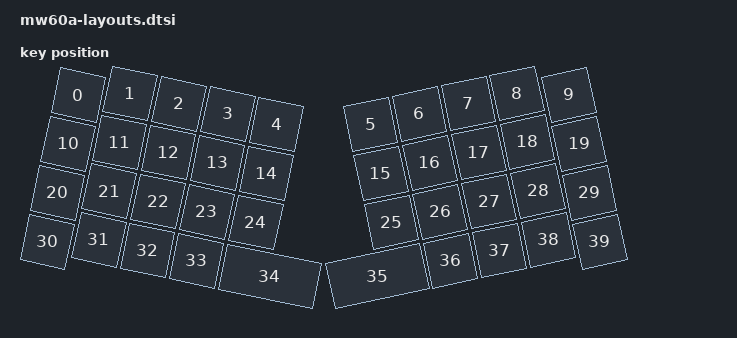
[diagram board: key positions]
// 이 .dtsi 파일은 MW60A 키보드 펌웨어의 일부임

// 여기에 사용하지 않는 피지컬 키를 포함하더라도 에러는 발생하지 않는다.
// ZMK studio 등에서 열었을 때, unknown으로 표시될 뿐이다.


#include <physical_layouts.dtsi>

/ {
    default_layout: default_layout {
        compatible = "zmk,physical-layout";
        display-name = "Default Layout";
        transform = <&default_transform>;
        kscan = <&kscan>;

        // Edit this to define the positions and sizes of the keys, or remove it
        // if your keyboard will not support ZMK Studio.
        // https://zmk.dev/docs/development/hardware-integration/physical-layouts#optional-keys-property
        keys  //                     w   h    x    y     rot    rx    ry
            = <&key_physical_attrs 100 100    0   25    1200   600   550>
            , <&key_physical_attrs 100 100  100    0    1200   600   550>
            , <&key_physical_attrs 100 100  200    0    1200   600   550>
            , <&key_physical_attrs 100 100  300    0    1200   600   550>
            , <&key_physical_attrs 100 100  400    0    1200   600   550>
            , <&key_physical_attrs 100 100  800   21 (-1200)   600   550>
            , <&key_physical_attrs 100 100  900   21 (-1200)   600   550>
            , <&key_physical_attrs 100 100 1000   21 (-1200)   600   550>
            , <&key_physical_attrs 100 100 1100   21 (-1200)   600   550>
            , <&key_physical_attrs 100 100 1200   46 (-1200)   600   550>
            , <&key_physical_attrs 100 100    0  125    1200   600   550>
            , <&key_physical_attrs 100 100  100  100    1200   600   550>
            , <&key_physical_attrs 100 100  200  100    1200   600   550>
            , <&key_physical_attrs 100 100  300  100    1200   600   550>
            , <&key_physical_attrs 100 100  400  100    1200   600   550>
            , <&key_physical_attrs 100 100  800  121 (-1200)   600   550>
            , <&key_physical_attrs 100 100  900  121 (-1200)   600   550>
            , <&key_physical_attrs 100 100 1000  121 (-1200)   600   550>
            , <&key_physical_attrs 100 100 1100  121 (-1200)   600   550>
            , <&key_physical_attrs 100 100 1200  146 (-1200)   600   550>
            , <&key_physical_attrs 100 100    0  225    1200   600   550>
            , <&key_physical_attrs 100 100  100  200    1200   600   550>
            , <&key_physical_attrs 100 100  200  200    1200   600   550>
            , <&key_physical_attrs 100 100  300  200    1200   600   550>
            , <&key_physical_attrs 100 100  400  200    1200   600   550>
            , <&key_physical_attrs 100 100  800  221 (-1200)   600   550>
            , <&key_physical_attrs 100 100  900  221 (-1200)   600   550>
            , <&key_physical_attrs 100 100 1000  221 (-1200)   600   550>
            , <&key_physical_attrs 100 100 1100  221 (-1200)   600   550>
            , <&key_physical_attrs 100 100 1200  246 (-1200)   600   550>
            , <&key_physical_attrs 100 100    0  325    1200   600   550>
            , <&key_physical_attrs 100 100  100  300    1200   600   550>
            , <&key_physical_attrs 100 100  200  300    1200   600   550>
            , <&key_physical_attrs 100 100  300  300    1200   600   550>
            , <&key_physical_attrs 200 100  400  300    1200   600   550>
            , <&key_physical_attrs 200 100  700  321 (-1200)   600   550>
            , <&key_physical_attrs 100 100  900  321 (-1200)   600   550>
            , <&key_physical_attrs 100 100 1000  321 (-1200)   600   550>
            , <&key_physical_attrs 100 100 1100  321 (-1200)   600   550>
            , <&key_physical_attrs 100 100 1200  346 (-1200)   600   550>
            
            ;
        };
};
